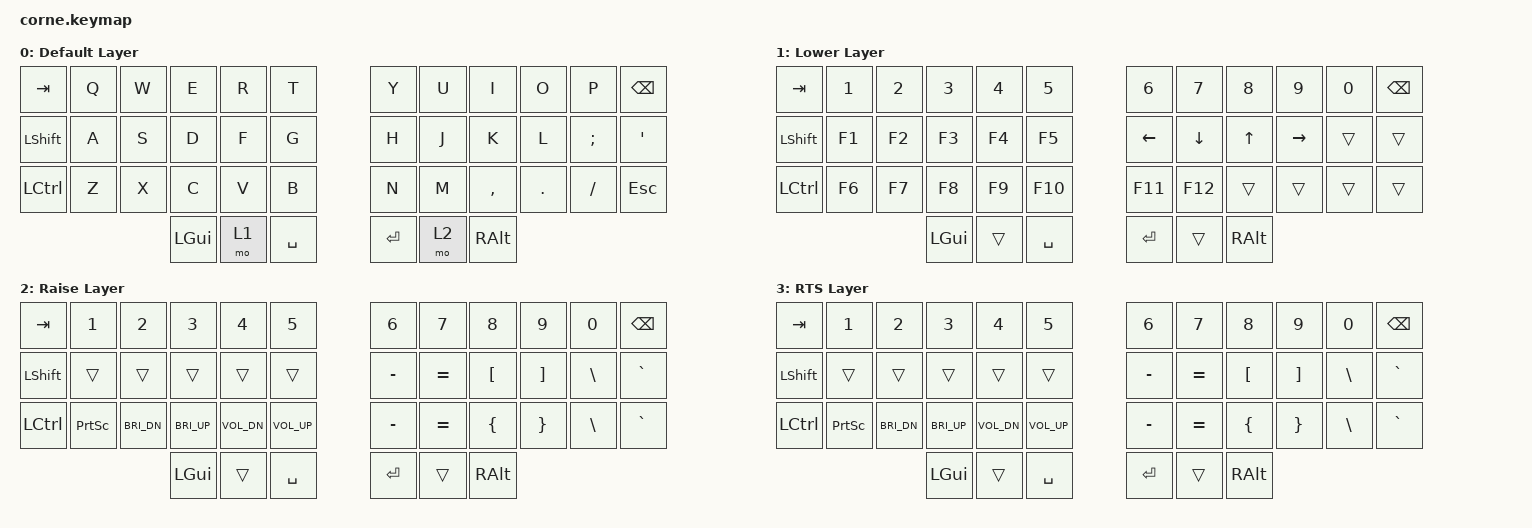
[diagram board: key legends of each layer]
/*
 * Copyright (c) 2020 The ZMK Contributors
 *
 * SPDX-License-Identifier: MIT
 */

#include <behaviors.dtsi>
#include <dt-bindings/zmk/keys.h>
#include <dt-bindings/zmk/bt.h>

/ {
    keymap {
        compatible = "zmk,keymap";
        
        default_layer {
            display-name = "Default Layer";
            bindings = <
                &kp TAB   &kp Q &kp W &kp E &kp R &kp T   &kp Y &kp U &kp I     &kp O   &kp P    &kp BSPC
                &kp LSHFT &kp A &kp S &kp D &kp F &kp G   &kp H &kp J &kp K     &kp L   &kp SEMI &kp SQT
                &kp LCTRL &kp Z &kp X &kp C &kp V &kp B   &kp N &kp M &kp COMMA &kp DOT &kp FSLH &kp ESC
                                      &kp LGUI &mo 1 &kp SPACE   &kp RET &mo 2 &kp RALT
            >;
        };
        
        lower_layer {
            display-name = "Lower Layer";
            bindings = <
                &kp TAB   &kp N1 &kp N2 &kp N3 &kp N4 &kp N5    &kp N6   &kp N7   &kp N8 &kp N9    &kp N0 &kp BSPC
                &kp LSHFT &kp F1 &kp F2 &kp F3 &kp F4 &kp F5    &kp LEFT &kp DOWN &kp UP &kp RIGHT &trans &trans
                &kp LCTRL &kp F6 &kp F7 &kp F8 &kp F9 &kp F10   &kp F11  &kp F12  &trans &trans    &trans &trans
                                        &kp LGUI &trans &kp SPACE   &kp RET &trans &kp RALT
            >;
        };
        
        raise_layer {
            display-name = "Raise Layer";
            bindings = <
                &kp TAB   &kp N1    &kp N2       &kp N3       &kp N4       &kp N5        &kp N6    &kp N7    &kp N8   &kp N9   &kp N0   &kp BSPC
                &kp LSHFT &trans    &trans       &trans       &trans       &trans        &kp MINUS &kp EQUAL &kp LBKT &kp RBKT &kp BSLH &kp GRAVE
                &kp LCTRL &kp PSCRN &kp C_BRI_DN &kp C_BRI_UP &kp C_VOL_DN &kp C_VOL_UP  &kp MINUS &kp EQUAL &kp LBRC &kp RBRC &kp BSLH &kp GRAVE
                                                 &kp LGUI &trans &kp SPACE   &kp RET &trans &kp RALT
            >;
        };

        rts_layer {
            display-name = "RTS Layer";
            bindings = <
                &kp TAB   &kp N1    &kp N2       &kp N3       &kp N4       &kp N5        &kp N6    &kp N7    &kp N8   &kp N9   &kp N0   &kp BSPC
                &kp LSHFT &trans    &trans       &trans       &trans       &trans        &kp MINUS &kp EQUAL &kp LBKT &kp RBKT &kp BSLH &kp GRAVE
                &kp LCTRL &kp PSCRN &kp C_BRI_DN &kp C_BRI_UP &kp C_VOL_DN &kp C_VOL_UP  &kp MINUS &kp EQUAL &kp LBRC &kp RBRC &kp BSLH &kp GRAVE
                                                 &kp LGUI &trans &kp SPACE   &kp RET &trans &kp RALT
            >;
        };
    };
};
